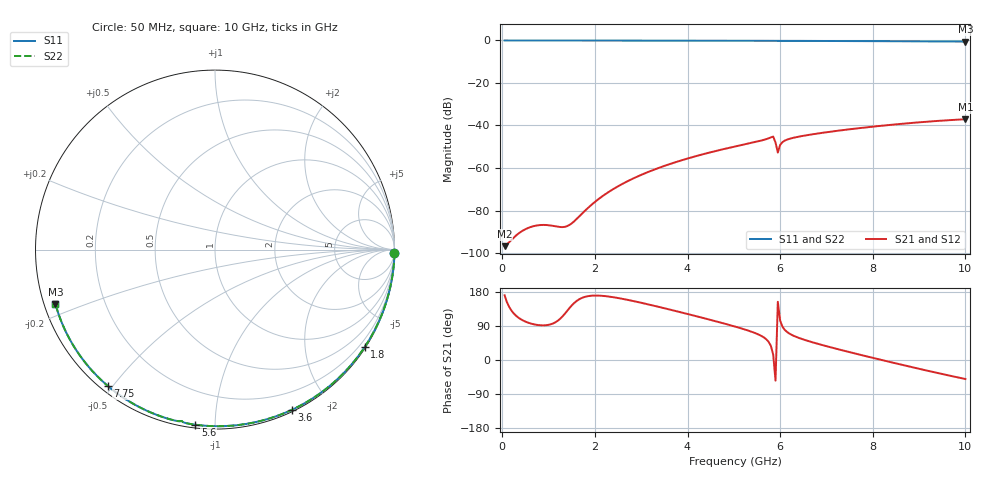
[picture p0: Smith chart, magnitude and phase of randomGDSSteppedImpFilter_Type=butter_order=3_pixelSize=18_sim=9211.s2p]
! freq	dB(S11)	phase(S11)	dB(S12)	phase(S12)
!  dB(S21)	phase(S21)	dB(S22)	phase(S22)
!S-par simulation data
#  GHz  S  DB  R 50
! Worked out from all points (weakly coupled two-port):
!   200 points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, 50 MHz to 10 GHz, reference 50 ohm
!   highest |S21| = -37.06 dB at 10 GHz (marker M1); lowest = -96.8 dB at 50 MHz (marker M2)
!   lowest |S11| = -0.5 dB at 10 GHz (marker M3), VSWR 31.96, Z = 1.61 - j8.27 ohm
!   |S11| at or under -10 dB: nowhere
!   |S22| runs from -0.5 to 0.0 dB; largest |S21 - S12| = 0
!   S11 on the Smith chart (normalised r, x): 50 MHz: open; 1.8 GHz: 0.03, -3.37; 3.6 GHz: 0.02, -1.59; 5.6 GHz: 0.02, -0.89; 7.75 GHz: 0.02, -0.48; 10 GHz: 0.03, -0.17
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0.05  -0.00 -0.9  -96.78 170.7  -96.78 170.7  -0.00 -0.9
0.85  -0.02 -15.8  -86.81 91.5  -86.81 91.5  -0.02 -15.8
1.75  -0.04 -32.2  -80.87 165.3  -80.87 165.3  -0.04 -32.2
1.8  -0.04 -33.1  -79.82 167.1  -79.82 167.1  -0.04 -33.1
2.1  -0.05 -38.4  -74.26 169.8  -74.26 169.8  -0.05 -38.4
2.45  -0.06 -44.6  -69.22 164.6  -69.22 164.6  -0.06 -44.6
2.9  -0.07 -52.5  -64.20 153.7  -64.20 153.7  -0.07 -52.5
3.4  -0.08 -61.0  -59.79 139.6  -59.79 139.6  -0.08 -61.0
3.6  -0.09 -64.4  -58.28 133.6  -58.28 133.6  -0.09 -64.4
4.25  -0.11 -75.1  -54.02 113.7  -54.02 113.7  -0.11 -75.1
5.05  -0.13 -87.9  -49.77 87.4  -49.77 87.4  -0.13 -87.8
5.6  -0.16 -96.4  -47.05 63.2  -47.05 63.2  -0.16 -96.4
5.85  -0.19 -100.4  -45.23 14.1  -45.23 14.1  -0.19 -100.4
5.9  -0.24 -101.1  -48.00 -54.4  -48.00 -54.4  -0.24 -101.0
5.95  -0.21 -101.5  -52.73 153.6  -52.73 153.6  -0.21 -101.5
6  -0.19 -102.3  -49.17 104.0  -49.17 104.0  -0.19 -102.3
6.1  -0.19 -103.9  -47.11 79.4  -47.11 79.4  -0.19 -103.9
6.3  -0.20 -106.9  -45.72 63.4  -45.72 63.4  -0.20 -106.9
6.7  -0.22 -112.9  -44.14 46.6  -44.14 46.6  -0.22 -112.9
7.75  -0.30 -128.3  -41.15 13.1  -41.15 13.1  -0.30 -128.2
8.35  -0.35 -137.0  -39.78 -4.6  -39.78 -4.6  -0.35 -136.9
10  -0.54 -161.2  -37.06 -50.2  -37.06 -50.2  -0.54 -161.2
